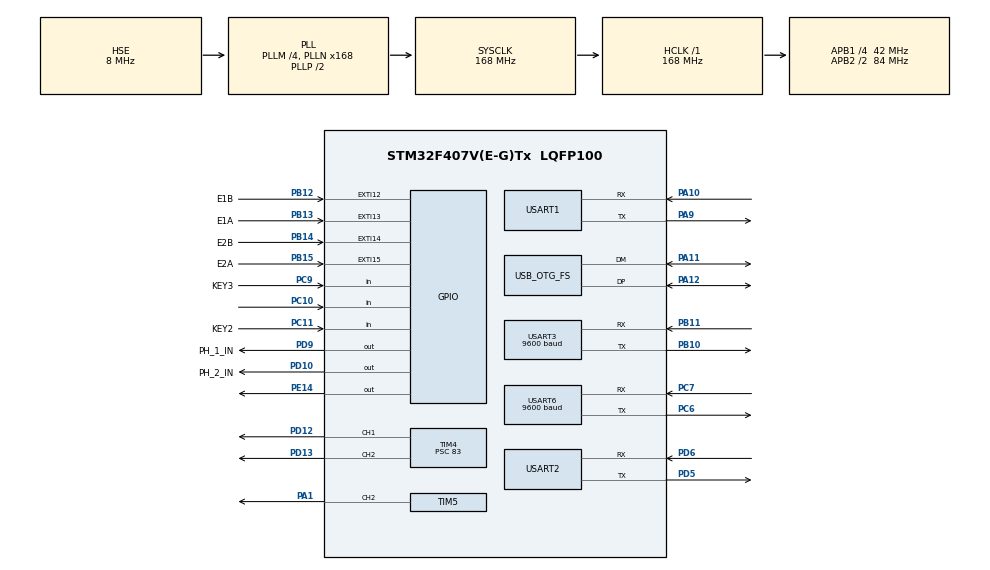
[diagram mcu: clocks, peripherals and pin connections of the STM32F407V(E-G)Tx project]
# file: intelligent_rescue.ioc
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Mcu.Family=STM32F4
Mcu.Name=STM32F407V(E-G)Tx
Mcu.Package=LQFP100
NVIC.EXTI15_10_IRQn=true\:0\:0\:false\:false\:true\:true\:true\:true
NVIC.OTG_FS_IRQn=true\:0\:0\:false\:false\:true\:false\:true\:true
NVIC.PriorityGroup=NVIC_PRIORITYGROUP_4
NVIC.TIM1_UP_TIM10_IRQn=true\:0\:0\:false\:false\:true\:true\:true\:true
NVIC.USART1_IRQn=true\:0\:0\:false\:false\:true\:true\:true\:true
NVIC.USART2_IRQn=true\:0\:0\:false\:false\:true\:true\:true\:true
NVIC.USART3_IRQn=true\:0\:0\:false\:false\:true\:true\:true\:true
NVIC.USART6_IRQn=true\:0\:0\:false\:false\:true\:true\:true\:true
PA1.Signal=S_TIM5_CH2
PA10.Mode=Asynchronous
PA10.Signal=USART1_RX
PA11.Mode=Device_Only
PA11.Signal=USB_OTG_FS_DM
PA12.Mode=Device_Only
PA12.Signal=USB_OTG_FS_DP
PA13.Mode=Serial_Wire
PA13.Signal=SYS_JTMS-SWDIO
PA14.Mode=Serial_Wire
PA14.Signal=SYS_JTCK-SWCLK
PA9.Mode=Asynchronous
PA9.Signal=USART1_TX
PB10.Mode=Asynchronous
PB10.Signal=USART3_TX
PB11.Mode=Asynchronous
PB11.Signal=USART3_RX
PB12.GPIO_Label=E1B
PB12.GPIO_PuPd=GPIO_PULLUP
PB12.Signal=GPXTI12
PB13.GPIO_Label=E1A
PB13.GPIO_ModeDefaultEXTI=GPIO_MODE_IT_RISING_FALLING
PB13.GPIO_PuPd=GPIO_PULLUP
PB13.Signal=GPXTI13
PB14.GPIO_Label=E2B
PB14.GPIO_PuPd=GPIO_PULLUP
PB14.Signal=GPXTI14
PB15.GPIO_Label=E2A
PB15.GPIO_ModeDefaultEXTI=GPIO_MODE_IT_RISING_FALLING
PB15.GPIO_PuPd=GPIO_PULLUP
PB15.Signal=GPXTI15
PC10.Signal=GPIO_Input
PC11.GPIO_Label=KEY2
PC11.GPIO_PuPd=GPIO_PULLUP
PC11.Signal=GPIO_Input
PC6.Mode=Asynchronous
PC6.Signal=USART6_TX
PC7.Mode=Asynchronous
PC7.Signal=USART6_RX
PC9.GPIO_Label=KEY3
PC9.GPIO_PuPd=GPIO_PULLUP
PC9.Signal=GPIO_Input
PD10.GPIO_Label=PH_2_IN
PD10.GPIO_PuPd=GPIO_PULLDOWN
PD10.Signal=GPIO_Output
PD12.Signal=S_TIM4_CH1
PD13.Signal=S_TIM4_CH2
PD5.Mode=Asynchronous
PD5.Signal=USART2_TX
PD6.Mode=Asynchronous
PD6.Signal=USART2_RX
PD9.GPIO_Label=PH_1_IN
PD9.GPIO_PuPd=GPIO_PULLUP
PD9.Signal=GPIO_Output
PE14.GPIO_PuPd=GPIO_PULLUP
PE14.Signal=GPIO_Output
PH0-OSC_IN.Mode=HSE-External-Oscillator
PH0-OSC_IN.Signal=RCC_OSC_IN
PH1-OSC_OUT.Mode=HSE-External-Oscillator
PH1-OSC_OUT.Signal=RCC_OSC_OUT
ProjectManager.HeapSize=0x200
ProjectManager.StackSize=0x400
ProjectManager.TargetToolchain=CMake
RCC.48MHZClocksFreq_Value=48000000
RCC.AHBFreq_Value=168000000
RCC.APB1CLKDivider=RCC_HCLK_DIV4
RCC.APB1Freq_Value=42000000
RCC.APB1TimFreq_Value=84000000
RCC.APB2CLKDivider=RCC_HCLK_DIV2
RCC.APB2Freq_Value=84000000
RCC.APB2TimFreq_Value=168000000
RCC.CortexFreq_Value=168000000
RCC.HCLKFreq_Value=168000000
RCC.HSE_VALUE=8000000
RCC.HSI_VALUE=16000000
RCC.LSE_VALUE=32768
RCC.PLLM=4
RCC.PLLN=168
RCC.PLLQ=7
RCC.SYSCLKFreq_VALUE=168000000
RCC.SYSCLKSource=RCC_SYSCLKSOURCE_PLLCLK
RCC.VCOOutputFreq_Value=336000000
SH.S_TIM4_CH1.0=TIM4_CH1,PWM Generation1 CH1
SH.S_TIM4_CH2.0=TIM4_CH2,PWM Generation2 CH2
SH.S_TIM5_CH2.0=TIM5_CH2,PWM Generation2 CH2
TIM1.AutoReloadPreload=TIM_AUTORELOAD_PRELOAD_ENABLE
TIM1.Prescaler=167
TIM2.AutoReloadPreload=TIM_AUTORELOAD_PRELOAD_ENABLE
TIM2.Period=499
TIM2.Prescaler=83
TIM3.AutoReloadPreload=TIM_AUTORELOAD_PRELOAD_ENABLE
TIM3.Period=9999
TIM3.Prescaler=167
TIM4.AutoReloadPreload=TIM_AUTORELOAD_PRELOAD_ENABLE
TIM4.Channel-PWM\ Generation1\ CH1=TIM_CHANNEL_1
TIM4.Channel-PWM\ Generation2\ CH2=TIM_CHANNEL_2
TIM4.Period=499
TIM4.Prescaler=83
TIM5.AutoReloadPreload=TIM_AUTORELOAD_PRELOAD_ENABLE
TIM5.Channel-PWM\ Generation2\ CH2=TIM_CHANNEL_2
TIM5.Period=9999
TIM5.Prescaler=167
USART1.VirtualMode=VM_ASYNC
USART2.VirtualMode=VM_ASYNC
USART3.BaudRate=9600
USART3.VirtualMode=VM_ASYNC
USART6.BaudRate=9600
USART6.VirtualMode=VM_ASYNC
USB_DEVICE.CLASS_NAME_FS=CDC
USB_DEVICE.VirtualMode-CDC_FS=Cdc
USB_DEVICE.VirtualModeFS=Cdc_FS
USB_OTG_FS.VirtualMode=Device_Only
VP_TIM1_VS_ClockSourceINT.Mode=Internal
VP_TIM2_VS_ClockSourceINT.Mode=Internal
VP_TIM3_VS_ClockSourceINT.Mode=Internal
VP_TIM4_VS_ClockSourceINT.Mode=Internal
VP_TIM5_VS_ClockSourceINT.Mode=Internal
VP_USB_DEVICE_VS_USB_DEVICE_CDC_FS.Mode=CDC_FS
board=custom

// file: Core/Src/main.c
/* USER CODE BEGIN Header */
/**
  ******************************************************************************
  * @file           : main.c
  * @brief          : Main program body
  ******************************************************************************
  * @attention
  *
  * Copyright (c) 2026 STMicroelectronics.
  * All rights reserved.
  *
  * This software is licensed under terms that can be found in the LICENSE file
  * in the root directory of this software component.
  * If no LICENSE file comes with this software, it is provided AS-IS.
  *
  ******************************************************************************
  */
/* USER CODE END Header */
#include "main.h"
#include "tim.h"
#include "usart.h"
#include "usb_device.h"
#include "gpio.h"

/* USER CODE BEGIN Includes */
#include "app_button.h"
#include "app_encoder.h"
#include "app_usart.h"
#include "task.h"
#include "drv8701.h"
#include "gx_delay.h"

#include "app_servo.h"
#include "app_motor.h"
#include "app_speed.h"
#include "JY901S.h"
#include "rescue_usart2.h"
/* USER CODE END Includes */

/* USER CODE BEGIN PV */
uint8_t rx_byte_imu;   // 串口6接收陀螺仪数据
/*
 *调试用变量
 */
float duty_l = 0;
float duty_r = 0;
float angle_servo = 0;
int key1_flag = 0;
/* USER CODE END PV */

void SystemClock_Config(void);

int main(void)
{

  /* MCU Configuration--------------------------------------------------------*/

  /* Reset of all peripherals, Initializes the Flash interface and the Systick. */
  HAL_Init();

  /* Configure the system clock */
  SystemClock_Config();

  /* Initialize all configured peripherals */
  MX_GPIO_Init();
  MX_USART1_UART_Init();
  MX_USB_DEVICE_Init();
  MX_TIM1_Init();
  MX_TIM2_Init();
  MX_USART6_UART_Init();
  MX_TIM3_Init();
  MX_USART2_UART_Init();
  MX_USART3_UART_Init();
  MX_TIM5_Init();
  MX_TIM4_Init();
  /* USER CODE BEGIN 2 */

  /*
   * 所有定时器和 GPIO 初始化完成后，启动 DRV8701E 的两路 EN PWM。
   * Motor_Init() 会先写入停止值，避免上电初始化过程中产生
   * 意外的电机动作。
   */
  Motor_Init();
  Motor_Cmd(1);

  /* 协议服务按收到的命令选择速度闭环或偏航角闭环。 */
  App_Speed_Init();
  App_Motor_Init();

  App_Servo_init();//初始化舵机
  HAL_UART_Receive_IT(&huart3, &rx_byte_imu, 1);//陀螺仪接收初始化

  /*
   * TIM1 以 1 MHz 计数并开启更新中断，供 gx_GetUs() 提供
   * 64 位微秒时间戳。TIM1 的自动重装载值为 65535，因此每次
   * 更新中断对应 65536 us 的软件累计。
   */
  /*
   * 启动前显式清零计数器和更新标志，避免个别复位状态下遗留的
   * UIF 标志被 gx_GetUs() 当成一次真实的 16 位计数器溢出。
   */

  HAL_TIM_Base_Start_IT(&htim1);
  if (Rescue_Usart2_Start() == 0U) {
    Error_Handler();
  }
  App_USART1_Printf("start!\n");

  /* USER CODE END 2 */

  /* Infinite loop */
  /* USER CODE BEGIN WHILE */
  while (1)
  {
    if (key1_flag == 1) {
      /*
       * 这里来放开始的时候要执行的代码
       */
      key1_flag = 0;
    }
    //App_Usart_USB_Process();
    PERIODIC_START(KEY_DETECT,20)
    App_Button_Proc();
    PERIODIC_END
    PERIODIC_START(PEINT_USART,100)
    HAL_GPIO_TogglePin(GPIOE, GPIO_PIN_14);
    PERIODIC_END

    /* 处理 USART2 命令，并运行当前命令选中的速度环或角度环。 */
    Rescue_Usart2_Process();
    // PERIODIC_START(PEINT_USART,15)
    // App_USART1_Printf("%.3f,%.3f\n",
    //                   angle_yaw_omega_ref,
    //                   angle_yaw_omega);

    // Motor_Set_L(duty_l);
    // Motor_Set_R(duty_l);
    // App_USART1_Printf("%.3f\n",
    //                  gyroZRate);

    // App_USART1_Printf("%.3f,%.3f\n",
    //                   encoder_l_pos,
    //                   encoder_r_pos);
    //PERIODIC_END
    /* USER CODE END WHILE */

  }
}

void SystemClock_Config(void)
{
  RCC_OscInitTypeDef RCC_OscInitStruct = {0};
  RCC_ClkInitTypeDef RCC_ClkInitStruct = {0};

  /** Configure the main internal regulator output voltage
  */
  __HAL_RCC_PWR_CLK_ENABLE();
  __HAL_PWR_VOLTAGESCALING_CONFIG(PWR_REGULATOR_VOLTAGE_SCALE1);

  /** Initializes the RCC Oscillators according to the specified parameters
  * in the RCC_OscInitTypeDef structure.
  */
  RCC_OscInitStruct.OscillatorType = RCC_OSCILLATORTYPE_HSE;
  RCC_OscInitStruct.HSEState = RCC_HSE_ON;
  RCC_OscInitStruct.PLL.PLLState = RCC_PLL_ON;
  RCC_OscInitStruct.PLL.PLLSource = RCC_PLLSOURCE_HSE;
  RCC_OscInitStruct.PLL.PLLM = 4;
  RCC_OscInitStruct.PLL.PLLN = 168;
  RCC_OscInitStruct.PLL.PLLP = RCC_PLLP_DIV2;
  RCC_OscInitStruct.PLL.PLLQ = 7;
  if (HAL_RCC_OscConfig(&RCC_OscInitStruct) != HAL_OK)
  {
    Error_Handler();
  }

  /** Initializes the CPU, AHB and APB buses clocks
  */
  RCC_ClkInitStruct.ClockType = RCC_CLOCKTYPE_HCLK|RCC_CLOCKTYPE_SYSCLK
                              |RCC_CLOCKTYPE_PCLK1|RCC_CLOCKTYPE_PCLK2;
  RCC_ClkInitStruct.SYSCLKSource = RCC_SYSCLKSOURCE_PLLCLK;
  RCC_ClkInitStruct.AHBCLKDivider = RCC_SYSCLK_DIV1;
  RCC_ClkInitStruct.APB1CLKDivider = RCC_HCLK_DIV4;
  RCC_ClkInitStruct.APB2CLKDivider = RCC_HCLK_DIV2;

  if (HAL_RCC_ClockConfig(&RCC_ClkInitStruct, FLASH_LATENCY_5) != HAL_OK)
  {
    Error_Handler();
  }
}

/* USER CODE BEGIN 4 */
void HAL_UART_RxCpltCallback(UART_HandleTypeDef *huart) {
  if (huart->Instance == USART3) {
    IMU_PutByte(rx_byte_imu);
    HAL_UART_Receive_IT(&huart3, &rx_byte_imu, 1);
  } else if (huart->Instance == USART2) {
    /* USART2 的组帧和缓存由协议模块负责；这里不执行电机或舵机动作。 */
    extern void Rescue_Usart2_RxCallback(void);
    Rescue_Usart2_RxCallback();
  }
}
/* USER CODE END 4 */

void Error_Handler(void)
{
  __disable_irq();
  while (1)
  {
  }
}
